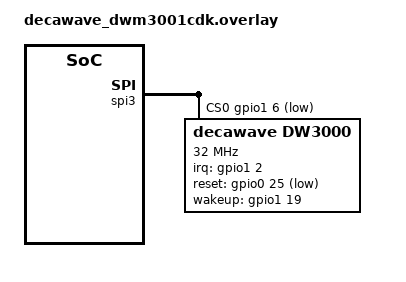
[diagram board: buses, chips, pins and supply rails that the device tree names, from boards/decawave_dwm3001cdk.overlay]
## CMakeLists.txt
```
# Copyright (c) 2026 asxeem
# Licensed under the MIT License - see LICENSE file in the repo root for details.
# Passive HRP-UWB frame-capture firmware for the Qorvo DWM3001CDK
# (DW3110 + nRF52833).  Out-of-tree Zephyr / nRF Connect SDK application that
# builds against the Qorvo DW3000 "decadriver" (dwt_uwb_driver) supplied as a
# Zephyr module at external/dw3000.

cmake_minimum_required(VERSION 3.20.0)

# Pull in the Qorvo/Decawave DW3000 decadriver as a Zephyr module.  It carries
# its own zephyr/module.yml + Kconfig (CONFIG_DW3000) and compiles only when
# CONFIG_DW3000=y (set in prj.conf).  Place the driver at external/dw3000 (see
# the README - e.g. `git submodule add <driver-repo> external/dw3000`).
set(DW3000_MODULE_DIR ${CMAKE_CURRENT_SOURCE_DIR}/external/dw3000)
if(NOT EXISTS ${DW3000_MODULE_DIR}/dwt_uwb_driver/deca_device_api.h)
  message(FATAL_ERROR
    "DW3000 decadriver not found at ${DW3000_MODULE_DIR}. "
    "See the README: add the Qorvo dwt_uwb_driver module at external/dw3000.")
endif()
list(APPEND ZEPHYR_EXTRA_MODULES ${DW3000_MODULE_DIR})

find_package(Zephyr REQUIRED HINTS $ENV{ZEPHYR_BASE})
project(uwb_capture LANGUAGES C)

target_sources(app PRIVATE
  src/main.c
  src/capture.c
  src/shell_cmds.c
)
```

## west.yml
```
# west.yml - OPTIONAL self-contained nRF Connect SDK workspace for uwb-sniffer.
#
# You only need this if you do NOT already have an NCS install.  It pins NCS and
# lets you spin up a dedicated workspace:
#
#     west init -l uwb-sniffer          # make this repo the manifest repo
#     west update                       # fetch pinned NCS (Zephyr, HALs, ...)
#     git submodule update --init       # the DW3000 driver at external/dw3000
#
# If you ALREADY have NCS v3.3.0, ignore this file and build the app freestanding
# against your existing workspace (see README "Build", option B) - nothing here
# forces a re-download; this manifest is only consumed when this repo is the
# manifest repo of a west workspace.
manifest:
  version: "1.0"

  remotes:
    - name: nrfconnect
      url-base: https://github.com/nrfconnect

  projects:
    - name: sdk-nrf
      remote: nrfconnect
      repo-path: sdk-nrf
      revision: v3.3.0
      import: true   # pulls Zephyr + HALs + modules at the versions NCS v3.3.0 pins

  self:
    path: uwb-sniffer
```

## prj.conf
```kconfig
# Passive HRP-UWB frame-capture firmware - DWM3001CDK.

# ── DW3000 decadriver (external/dw3000) ───────────────────────────────────
CONFIG_GPIO=y
CONFIG_SPI=y
# Some DW3000 platform HALs drive the bus with the async SPI API
# (spi_transceive_signal); harmless to enable when the HAL is synchronous.
CONFIG_SPI_ASYNC=y
CONFIG_DW3000=y
CONFIG_DW3000_CHIP_DW3000=y   # DW3110 is DW3000-family silicon

# ── Console / logging / shell (all over UART0 -> onboard J-Link VCOM) ──────
CONFIG_SERIAL=y
CONFIG_CONSOLE=y
CONFIG_UART_CONSOLE=y

CONFIG_LOG=y
# Immediate (synchronous) logging: per-frame lines are emitted from the DW3000
# IRQ workqueue and we want them ordered 1:1 with RX events, never dropped by a
# backlogged deferred-log ring during a fast frame burst.
CONFIG_LOG_MODE_IMMEDIATE=y
# Log through the shell backend only (below).  A standalone UART backend here
# would ALSO write the same UART, printing every line twice - keep it off.
CONFIG_LOG_BACKEND_UART=n

CONFIG_SHELL=y
CONFIG_SHELL_LOG_BACKEND=y    # the single log path: shell renders log lines on the UART
CONFIG_SHELL_STACK_SIZE=2048
CONFIG_SHELL_VT100_COLORS=y          # ANSI color for `sniff` command responses
CONFIG_SHELL_PROMPT_UART="uwb:~$ "   # branded prompt (plain ASCII: shell tracks its width)
# Declutter top-level `help`: drop the peripheral built-in modules a sniffer
# never uses (kernel/device/date/devmem).  The generic SHELL_CMDS bundle
# (clear/history/shell/rem/retval/resize) is kept.  The 5-line help preamble is
# baked into the Zephyr shell core and cannot be changed via config.
CONFIG_KERNEL_SHELL=n
CONFIG_DEVICE_SHELL=n
CONFIG_DATE_SHELL=n
CONFIG_DEVMEM_SHELL=n

# ── Runtime ───────────────────────────────────────────────────────────────
CONFIG_MAIN_STACK_SIZE=2048
# The DW3000 platform HAL submits dwt_isr() to the SYSTEM workqueue
# (k_work_submit in dw3000_hw.c), so our RX callback - SPI reads,
# dwt_readdiagnostics(), and the ~18-arg snprintf of the record line - runs on
# sysworkq.  The 1024-byte default overflows on the first RX (MPU/stack-overflow
# fault on the sysworkq thread); give it headroom.
CONFIG_SYSTEM_WORKQUEUE_STACK_SIZE=4096
CONFIG_HEAP_MEM_POOL_SIZE=1024
CONFIG_CBPRINTF_FP_SUPPORT=n  # log line is integer/hex only - keep it small
CONFIG_REBOOT=y
```

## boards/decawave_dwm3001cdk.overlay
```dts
// Copyright (c) 2026 asxeem
// Licensed under the MIT License - see LICENSE file in the repo root for details.
/*
 * DWM3001CDK - DW3110 device node for the Qorvo/Decawave `decawave,dw3000`
 * binding (the DW3000 driver module at external/dw3000).
 *
 * The in-tree NCS board `qorvo/decawave_dwm3001cdk` already enables &spi3
 * (SCK P0.03, MOSI P0.08, MISO P0.29, CS P1.06 - see the board's
 * *-pinctrl.dtsi and .dts) but does NOT declare the DW3110 child node, so we
 * add it here.  Pin numbers are taken verbatim from Qorvo's own DWM3001CDK
 * board config (DW3_QM33_SDK_1.1.1,
 * Projects/FreeRTOS/<proj>/DWM3001CDK/ProjectDefinition/uwb_stack_llhw.cmake):
 *
 *   CONFIG_SPI_UWB_SCK_GPIO   = P0.03      CONFIG_SPI_UWB_MOSI_GPIO = P0.08
 *   CONFIG_SPI_UWB_MISO_GPIO  = P0.29      CONFIG_SPI_UWB_CS_GPIO   = P1.06
 *   CONFIG_DWT_IRQ_GPIO       = P1.02      CONFIG_DWT_RSTN_GPIO     = P0.25
 *   CONFIG_DWT_WU_GPIO        = P1.19
 *
 * These match the NCS board's &spi3/CS pins exactly, cross-checked against the
 * community svhoy uwb_zephyr_dwm3001cdk port.
 */

&spi3 {
	status = "okay";
	compatible = "nordic,nrf-spim";
	cs-gpios = <&gpio1 6 GPIO_ACTIVE_LOW>;

	dw3000: dw3000@0 {
		compatible = "decawave,dw3000";
		reg = <0>;
		status = "okay";
		/* Platform HAL clocks init at 2 MHz, then switches to this max
		 * for bulk reads (dw3000_spi.c speed_slow/fast).  32 MHz is safe
		 * on the integrated module (DW3110 rated to 38 MHz). */
		spi-max-frequency = <32000000>;
		irq-gpios   = <&gpio1 2  GPIO_ACTIVE_HIGH>;  /* DW_IRQ  P1.02 */
		reset-gpios = <&gpio0 25 GPIO_ACTIVE_LOW>;   /* DW_RSTn P0.25 */
		wakeup-gpios = <&gpio1 19 GPIO_ACTIVE_HIGH>; /* DW_WAKEUP P1.19 */
	};
};

/ {
	aliases {
		dw3000 = &dw3000;
	};
};
```

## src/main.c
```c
// Copyright (c) 2026 asxeem
// Licensed under the MIT License - see LICENSE file in the repo root for details.
/*
 * @file main.c
 * @brief Passive HRP-UWB frame-capture firmware entry point - DWM3001CDK.
 *
 * Brings the DW3110 up, prints the one-time config banner, and arms continuous
 * receive.  From then on the capture engine (capture.c) logs one line per RX
 * event and re-arms itself; the operator drives it live over the `uwb` shell
 * (shell_cmds.c).
 */

#include "capture.h"

#include <zephyr/kernel.h>
#include <zephyr/logging/log.h>

LOG_MODULE_REGISTER(main, LOG_LEVEL_INF);

/** @brief Boot the radio, print the banner, and start capturing. */
int main(void)
{
	int err = capture_init();

	capture_print_banner();

	if (err) {
		LOG_ERR("capture_init failed: %d - check DW3110 wiring/power", err);
		return 0; /* Keep the shell alive so the operator can retry. */
	}

	err = capture_start();
	if (err) {
		LOG_ERR("capture_start failed: %d", err);
	}

	return 0;
}
```

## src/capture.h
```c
// Copyright (c) 2026 asxeem
// Licensed under the MIT License - see LICENSE file in the repo root for details.
/*
 * @file capture.h
 * @brief Passive HRP-UWB frame-capture engine for the DWM3001CDK (DW3110).
 *
 * Wraps Qorvo's portable `dwt_uwb_driver` (the DW3000 driver module) in a
 * receive-only capture loop: the radio is armed for continuous, error-tolerant
 * RX and every RX event - good frame, STS/CRC/PHY error, or timeout - is logged
 * as one structured line and RX is immediately re-armed.  This builds directly
 * on the PHY driver.
 *
 * All radio access stays inside capture.c (the "radio layer"); main.c and
 * shell_cmds.c only touch this API.
 */

#ifndef UWB_CAPTURE_H_
#define UWB_CAPTURE_H_

#include <stdbool.h>
#include <stdint.h>

/** @brief Per-frame event classification, derived from SYS_STATUS bits. */
enum capture_event {
	CAP_EV_OK = 0,   /**< RXFCG: frame with good FCS (and good STS in SP1/2/3). */
	CAP_EV_STS_ERR,  /**< CIAERR/CP error: STS did not validate. */
	CAP_EV_FCS_ERR,  /**< RXFCE: frame CRC (FCS) failed. */
	CAP_EV_PHY_ERR,  /**< RXPHE/RXFSL: PHY-header or Reed-Solomon decode error. */
	CAP_EV_TO,       /**< RXFTO/RXPTO/RXSTO: preamble/frame/SFD timeout. */
	CAP_EV_COUNT,
};

/** @brief Running tally of RX events since boot / last `stats clear`. */
struct capture_stats {
	uint32_t per_event[CAP_EV_COUNT]; /**< One counter per @ref capture_event. */
	uint32_t total;                   /**< Sum of all events. */
};

/**
 * @brief Bring the DW3110 up to a configured, callback-registered state.
 *
 * Idempotent.  Runs the proven sequence: dw3000_hw_init -> dw3000_hw_reset ->
 * dwt_probe -> dwt_initialise -> dwt_configure -> dw3000_hw_init_interrupt ->
 * dwt_setcallbacks -> dwt_setinterrupt.  Does NOT arm RX (call @ref
 * capture_start for that).
 *
 * @retval 0     Radio ready.
 * @retval -EIO  SPI probe / initialise / configure failed.
 */
int capture_init(void);

/**
 * @brief Arm continuous, timeout-free RX (rxtimeout 0, START_RX_IMMEDIATE).
 * @retval 0     Listening.
 * @retval -EIO  dwt_rxenable rejected.
 */
int capture_start(void);

/** @brief Force the radio off and stop capturing. @return 0. */
int capture_stop(void);

/** @brief True while RX is armed. */
bool capture_is_running(void);

/* ── Live PHY config (applied immediately; re-arms RX if it was running) ──── */

/** @brief Set channel (5 or 9). @retval -EINVAL if not 5/9. */
int capture_set_channel(uint8_t chan);
/** @brief Set TX+RX preamble code (9 = Apple/CCC default SYNC_Code_Index; 9/11 BPRF ideals). */
int capture_set_preamble_code(uint8_t code);
/** @brief Set preamble length in symbols (e.g. 64, 128). @retval -EINVAL if unsupported. */
int capture_set_preamble_len(uint16_t symbols);
/** @brief Set SFD type (dwt_sfd_type_e: 0 IEEE-8/4a, 1 DW-8, 2 DW-16, 3 IEEE-4z). */
int capture_set_sfd(uint8_t sfd_type);
/** @brief Set STS packet config: 0=SP0(off) 1=SP1 2=SP2 3=SP3(no-data). */
int capture_set_sp(uint8_t sp);
/**
 * @brief Retune to the Aliro/CCC ranging PHY (CCC v4 Table 21-1 Config 0000).
 *
 * One reconfigure to the set an Apple Wallet key uses: chan 9, code 9, 64-sym
 * preamble (PAC8), SFD IEEE-8/4a, 6.8 Mbps, SP0 (hear the cleartext Pre-POLL).
 * Any loaded STS key/IV is left in place.  @return 0, or a reconfigure error.
 */
int capture_set_ccc(void);

/**
 * @brief Load a custom 128-bit STS key (dURSK) / IV (STS-V) to decode a keyed
 *        secure-ranging session (e.g. CCC/Aliro).
 *
 * The DW3000 default STS key never matches a real session, so such frames always
 * fault as STS_ERR.  Given the session's key material - derived host-side from
 * the URSK - loading it lets the STS correlate so a matching frame decodes as OK
 * (event RXFCG, positive `sts` quality).  Both take a canonical big-endian
 * 16-byte value (byte 0 = MSB), exactly as the CCC deriver prints dURSK (key)
 * and STS-V (iv).  Applied immediately; re-arms RX if it was running.
 *
 * @retval 0        Loaded.
 * @retval -EINVAL  NULL pointer.
 * @retval -EIO     Underlying reconfigure failed.
 */
int capture_set_sts_key(const uint8_t key_be[16]);
int capture_set_sts_iv(const uint8_t iv_be[16]);

/** @brief Revert to the DW3000 default STS key/IV. */
void capture_clear_sts(void);

/**
 * @brief Only log frames whose Ipatov CIR peak is >= @p min_peak (0 = log all).
 *
 * Throttle for a strong-transmitter burst: below-threshold frames are still
 * counted and RX re-armed, they just aren't printed.
 */
void capture_set_min_peak(uint32_t min_peak);

/**
 * @brief Console output view.  All are per-frame renderings of the same capture
 *        except SUMMARY, which is a 1 Hz aggregate gauge.
 */
enum capture_view {
	CAP_VIEW_SUMMARY = 0, /**< 1 Hz gauge: signal bar + round rate; `sniff summary`. */
	CAP_VIEW_HUMAN,       /**< Per-frame plain-English line; `sniff human`. */
	CAP_VIEW_RAW,         /**< Per-frame `UWBCAP key=value` machine lines; `sniff raw`. */
	CAP_VIEW_RAW_PRETTY,  /**< Per-frame compact colored line; `sniff raw_pretty`. */
};

/**
 * @brief Select the console output view (@ref capture_view).  Applied immediately.
 */
void capture_set_view(enum capture_view view);

/**
 * @brief Capture the next @p n_frames real frames into RAM at full radio speed,
 *        then dump them as parseable `UWBCAP` lines for offline round analysis.
 *
 * The RX callback only stashes each frame's key fields (no per-frame printing),
 * so a ranging round's back-to-back frames aren't dropped by the slow console.
 *
 * @retval 0        Burst armed.
 * @retval -EINVAL  n_frames is 0 or exceeds the RAM buffer.
 * @retval -EBUSY   A burst is already in progress.
 */
int capture_burst(uint32_t n_frames);

/**
 * @brief Sweep the candidate preamble codes (9..12) ~1 s each, count real
 *        frames per code, and lock onto the busiest.
 *
 * Apple Nearby-Interaction sessions negotiate the preamble code, so this finds
 * the live one without prior knowledge.
 *
 * @retval 0        Scan started.
 * @retval -EBUSY   A scan or burst is already in progress.
 */
int capture_scan(void);

/** @brief Read-only snapshot of the running event tally. */
const struct capture_stats *capture_get_stats(void);
/** @brief Zero the event tally and the frame index. */
void capture_clear_stats(void);

/** @brief Emit the one-time configuration banner to the log. */
void capture_print_banner(void);

#endif /* UWB_CAPTURE_H_ */
```

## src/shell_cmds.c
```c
// Copyright (c) 2026 asxeem
// Licensed under the MIT License - see LICENSE file in the repo root for details.
/*
 * @file shell_cmds.c
 * @brief `sniff` shell command tree for the passive capture engine.
 *
 * Exposes the capture.h API over the Zephyr shell (RTT/UART):
 *   sniff start | stop
 *   sniff chan <5|9>       sniff preamble <code>   sniff plen <symbols>
 *   sniff sfd <0..3>       sniff sp <0..3>       sniff ccc
 *   sniff minpeak <hex>    sniff human | raw      sniff burst [N]  sniff scan
 *   sniff stskey <hex>|off sniff stsiv <hex>      sniff stats [clear]
 */

#include "capture.h"

#include <errno.h>
#include <stdlib.h>
#include <string.h>

#include <zephyr/shell/shell.h>

/* ── Response styling ──────────────────────────────────────────────────────
 * A green "ok " confirmation prefix (message text that follows stays default),
 * and one colored row of the `sniff stats` table.  VT100 color auto-drops when
 * CONFIG_SHELL_VT100_COLORS=n or the terminal doesn't support it. */
static void tick(const struct shell *sh)
{
	shell_fprintf(sh, SHELL_VT100_COLOR_GREEN, "  ok ");
}

/** @brief One `sniff stats` row: name in default, count colored (dim when 0). */
static void stat_row(const struct shell *sh, const char *name, uint32_t v,
		     enum shell_vt100_color col)
{
	shell_fprintf(sh, SHELL_VT100_COLOR_DEFAULT, "  %-9s", name);
	shell_fprintf(sh, v ? col : SHELL_VT100_COLOR_DEFAULT, " %8u\n", v);
}

/** @brief A colored section header in the `sniff` help screen. */
static void sec(const struct shell *sh, const char *title)
{
	shell_fprintf(sh, SHELL_VT100_COLOR_YELLOW, "\n  %s\n", title);
}

/** @brief One help row: cyan `name+args` column, then the description. */
static void row(const struct shell *sh, const char *cmd, const char *desc)
{
	shell_fprintf(sh, SHELL_VT100_COLOR_CYAN, "    %-24s", cmd);
	shell_print(sh, "%s", desc);
}

/** @brief One `sniff raw` legend row: cyan field name, then its meaning. */
static void leg(const struct shell *sh, const char *field, const char *meaning)
{
	shell_fprintf(sh, SHELL_VT100_COLOR_CYAN, "    %-8s ", field);
	shell_print(sh, "%s", meaning);
}

/** @brief `uwb start` - arm continuous RX. */
static int cmd_start(const struct shell *sh, size_t argc, char **argv)
{
	ARG_UNUSED(argc);
	ARG_UNUSED(argv);
	int err = capture_start();

	if (err) {
		shell_error(sh, "start failed: %d", err);
		return err;
	}
	tick(sh);
	shell_print(sh, "capturing");
	return 0;
}

/** @brief `uwb stop` - force radio off. */
static int cmd_stop(const struct shell *sh, size_t argc, char **argv)
{
	ARG_UNUSED(argc);
	ARG_UNUSED(argv);
	capture_stop();
	tick(sh);
	shell_print(sh, "stopped");
	return 0;
}

/** @brief `uwb chan <5|9>`. */
static int cmd_chan(const struct shell *sh, size_t argc, char **argv)
{
	ARG_UNUSED(argc);
	int err = capture_set_channel((uint8_t)atoi(argv[1]));

	if (err) {
		shell_error(sh, "invalid channel (5 or 9)");
		return err;
	}
	tick(sh);
	shell_print(sh, "chan %s", argv[1]);
	return 0;
}

/** @brief `uwb preamble <code>` - TX+RX preamble code. */
static int cmd_preamble(const struct shell *sh, size_t argc, char **argv)
{
	ARG_UNUSED(argc);
	int err = capture_set_preamble_code((uint8_t)atoi(argv[1]));

	if (err) {
		shell_error(sh, "reconfigure failed: %d", err);
		return err;
	}
	tick(sh);
	shell_print(sh, "code %s", argv[1]);
	return 0;
}

/** @brief `uwb plen <symbols>` - preamble length (64/128/256/512). */
static int cmd_plen(const struct shell *sh, size_t argc, char **argv)
{
	ARG_UNUSED(argc);
	int err = capture_set_preamble_len((uint16_t)atoi(argv[1]));

	if (err) {
		shell_error(sh, "invalid plen (64/128/256/512)");
		return err;
	}
	tick(sh);
	shell_print(sh, "plen %s", argv[1]);
	return 0;
}

/** @brief `uwb sfd <0..3>` - dwt_sfd_type_e (3 = IEEE 802.15.4z BPRF). */
static int cmd_sfd(const struct shell *sh, size_t argc, char **argv)
{
	ARG_UNUSED(argc);
	int err = capture_set_sfd((uint8_t)atoi(argv[1]));

	if (err) {
		shell_error(sh, "invalid sfd (0..3)");
		return err;
	}
	tick(sh);
	shell_print(sh, "sfd %s", argv[1]);
	return 0;
}

/** @brief `uwb sp <0..3>` - STS packet config (0=SP0 off, 3=SP3 no-data). */
static int cmd_sp(const struct shell *sh, size_t argc, char **argv)
{
	ARG_UNUSED(argc);
	int err = capture_set_sp((uint8_t)atoi(argv[1]));

	if (err) {
		shell_error(sh, "invalid sp (0..3)");
		return err;
	}
	tick(sh);
	shell_print(sh, "sp %s", argv[1]);
	return 0;
}

/** @brief `sniff ccc` - retune to the Aliro/CCC ranging PHY (Config 0000). */
static int cmd_ccc(const struct shell *sh, size_t argc, char **argv)
{
	ARG_UNUSED(argc);
	ARG_UNUSED(argv);
	int err = capture_set_ccc();

	if (err) {
		shell_error(sh, "ccc: reconfigure failed: %d", err);
		return err;
	}
	tick(sh);
	shell_print(sh, "ccc - chan9 code9 plen64 sfd4a 6.8Mb SP0 - Apple Pre-POLL");
	return 0;
}

/** @brief `sniff minpeak <hex>` - only log frames with peak >= value (0 = all). */
static int cmd_minpeak(const struct shell *sh, size_t argc, char **argv)
{
	ARG_UNUSED(argc);
	uint32_t v = (uint32_t)strtoul(argv[1], NULL, 0); /* accepts 0x-prefixed hex */

	capture_set_min_peak(v);
	tick(sh);
	shell_print(sh, "minpeak 0x%08X", v);
	return 0;
}

/** @brief `sniff summary` - the 1 Hz aggregate gauge (signal bar + round rate). */
static int cmd_summary(const struct shell *sh, size_t argc, char **argv)
{
	ARG_UNUSED(argc);
	ARG_UNUSED(argv);
	capture_set_view(CAP_VIEW_SUMMARY);
	tick(sh);
	shell_print(sh, "view summary - 1 Hz gauge (signal bar + round rate)");
	return 0;
}

/** @brief `sniff human` - one plain-English line per frame. */
static int cmd_human(const struct shell *sh, size_t argc, char **argv)
{
	ARG_UNUSED(argc);
	ARG_UNUSED(argv);
	capture_set_view(CAP_VIEW_HUMAN);
	tick(sh);
	shell_print(sh, "view human - one plain-English line per frame");
	return 0;
}

/** @brief `sniff raw` - per-frame `UWBCAP key=value` machine lines (for parsing). */
static int cmd_raw(const struct shell *sh, size_t argc, char **argv)
{
	ARG_UNUSED(argc);
	ARG_UNUSED(argv);
	capture_set_view(CAP_VIEW_RAW);
	tick(sh);
	shell_print(sh, "view raw - per-frame UWBCAP lines (feed to the parser / pcap)");

	sec(sh, "legend");
	leg(sh, "idx", "frame number (monotonic)");
	leg(sh, "ev", "OK | STS_ERR | FCS_ERR | PHY_ERR | TO");
	leg(sh, "ts", "Ipatov RX timestamp, 40-bit device time (~15.65 ps/tick)");
	leg(sh, "cfo", "clock/carrier offset vs the transmitter (signed)");
	leg(sh, "cia", "CIR diagnostics fresh? 1 = yes, 0 = stale (errored frame)");
	leg(sh, "cir", "Ipatov CIR power   -> RSSI dBm (derived host-side)");
	leg(sh, "f1 f2 f3", "first-path amplitudes -> first-path dBm");
	leg(sh, "fpidx", "first-path index in the CIR, Q10.6");
	leg(sh, "acc", "preamble symbols accumulated (N in the power formula)");
	leg(sh, "peak", "Ipatov CIR peak (index | amplitude)");
	leg(sh, "len", "frame length, bytes (incl FCS for data frames)");
	leg(sh, "rng", "PHR ranging bit (0/1)");
	leg(sh, "dr", "data rate (6M8 | 850K)");
	leg(sh, "sts", "STS quality (off in SP0; > 0 = good in SP1/2/3)");
	leg(sh, "ststat", "STS status bits (CP error & co.)");
	leg(sh, "status", "raw SYS_STATUS low word");
	leg(sh, "pl", "payload bytes, hex (empty for SP3-ND / timeout)");
	return 0;
}

/** @brief `sniff raw_pretty` - one compact, colored line per frame. */
static int cmd_raw_pretty(const struct shell *sh, size_t argc, char **argv)
{
	ARG_UNUSED(argc);
	ARG_UNUSED(argv);
	capture_set_view(CAP_VIEW_RAW_PRETTY);
	tick(sh);
	shell_print(sh, "view raw_pretty - one compact colored line per frame (raw = machine)");
	return 0;
}

/** @brief `sniff burst [N]` - capture N frames to RAM at full speed, then dump. */
static int cmd_burst(const struct shell *sh, size_t argc, char **argv)
{
	uint32_t n = (argc == 2) ? (uint32_t)strtoul(argv[1], NULL, 0) : 512u;
	int err = capture_burst(n);

	if (err == -EBUSY) {
		shell_error(sh, "burst already running");
	} else if (err) {
		shell_error(sh, "burst: invalid N (1..512)");
	} else {
		tick(sh);
		shell_print(sh, "burst - capturing %u frames to RAM, then dumping...", n);
	}
	return err;
}

/** @brief `sniff scan` - find the live preamble code (Apple negotiates it). */
static int cmd_scan(const struct shell *sh, size_t argc, char **argv)
{
	ARG_UNUSED(argc);
	ARG_UNUSED(argv);
	int err = capture_scan();

	if (err == -EBUSY) {
		shell_error(sh, "scan/burst already running");
	} else if (err) {
		shell_error(sh, "scan failed: %d", err);
	} else {
		tick(sh);
		shell_print(sh, "scanning preamble codes 9..12, locking onto the live one...");
	}
	return err;
}

/** @brief One hex nibble to its value, or -1 if not a hex digit. */
static int hexnib(char c)
{
	if (c >= '0' && c <= '9') return c - '0';
	if (c >= 'a' && c <= 'f') return c - 'a' + 10;
	if (c >= 'A' && c <= 'F') return c - 'A' + 10;
	return -1;
}

/** @brief Parse a 32-hex-char (16-byte) STS value into @p buf. @return 0 on success. */
static int parse_sts_hex(const char *s, uint8_t buf[16])
{
	if (strlen(s) != 32) {
		return -EINVAL;
	}
	for (int i = 0; i < 16; i++) {
		int hi = hexnib(s[2 * i]);
		int lo = hexnib(s[2 * i + 1]);

		if (hi < 0 || lo < 0) {
			return -EINVAL;
		}
		buf[i] = (uint8_t)((hi << 4) | lo);
	}
	return 0;
}

/** @brief `sniff stskey <32hex dURSK> | off` - load/clear the custom STS key. */
static int cmd_stskey(const struct shell *sh, size_t argc, char **argv)
{
	ARG_UNUSED(argc);
	if (strcmp(argv[1], "off") == 0) {
		capture_clear_sts();
		tick(sh);
		shell_print(sh, "sts default");
		return 0;
	}

	uint8_t key[16];

	if (parse_sts_hex(argv[1], key) != 0) {
		shell_error(sh, "stskey: need 32 hex chars (16-byte dURSK) or 'off'");
		return -EINVAL;
	}
	int err = capture_set_sts_key(key);

	if (err) {
		shell_error(sh, "stskey: reconfigure failed: %d", err);
	} else {
		tick(sh);
		shell_print(sh, "stskey set");
	}
	return err;
}

/** @brief `sniff stsiv <32hex STS-V>` - load the custom STS IV / V value. */
static int cmd_stsiv(const struct shell *sh, size_t argc, char **argv)
{
	ARG_UNUSED(argc);

	uint8_t iv[16];

	if (parse_sts_hex(argv[1], iv) != 0) {
		shell_error(sh, "stsiv: need 32 hex chars (16-byte STS-V)");
		return -EINVAL;
	}
	int err = capture_set_sts_iv(iv);

	if (err) {
		shell_error(sh, "stsiv: reconfigure failed: %d", err);
	} else {
		tick(sh);
		shell_print(sh, "stsiv set");
	}
	return err;
}

/** @brief `uwb stats [clear]` - per-event counts, or zero them. */
static int cmd_stats(const struct shell *sh, size_t argc, char **argv)
{
	if (argc == 2 && strcmp(argv[1], "clear") == 0) {
		capture_clear_stats();
		tick(sh);
		shell_print(sh, "stats cleared");
		return 0;
	}

	const struct capture_stats *s = capture_get_stats();

	shell_print(sh, "  %-9s %8s", "event", "count");
	shell_print(sh, "  ------------------");
	stat_row(sh, "OK",      s->per_event[CAP_EV_OK],      SHELL_VT100_COLOR_GREEN);
	stat_row(sh, "STS_ERR", s->per_event[CAP_EV_STS_ERR], SHELL_VT100_COLOR_YELLOW);
	stat_row(sh, "FCS_ERR", s->per_event[CAP_EV_FCS_ERR], SHELL_VT100_COLOR_RED);
	stat_row(sh, "PHY_ERR", s->per_event[CAP_EV_PHY_ERR], SHELL_VT100_COLOR_RED);
	stat_row(sh, "TO",      s->per_event[CAP_EV_TO],      SHELL_VT100_COLOR_DEFAULT);
	shell_print(sh, "  ------------------");
	stat_row(sh, "total",   s->total,                     SHELL_VT100_COLOR_CYAN);
	return 0;
}

/** @brief `sniff` (bare) and `sniff help` - the grouped, colored reference. */
static int cmd_sniff_help(const struct shell *sh, size_t argc, char **argv)
{
	/* Reached bare (`sniff`), via `sniff help`, or with an unrecognised
	 * subcommand (`sniff foo`) - in that last case argc>1: name the bad word
	 * in red, then fall through to the full reference. */
	if (argc > 1) {
		shell_fprintf(sh, SHELL_VT100_COLOR_RED,
			      "\n  unknown command: %s\n", argv[1]);
	}

	shell_fprintf(sh, SHELL_VT100_COLOR_CYAN, "\n  sniff");
	shell_print(sh, "   passive 802.15.4z HRP-UWB frame capture");

	sec(sh, "CAPTURE");
	row(sh, "start", "arm continuous receive");
	row(sh, "stop", "force the radio off");
	row(sh, "burst [N]", "grab N frames to RAM, then dump (default 512)");
	row(sh, "scan", "sweep preamble codes 9-12, lock the live one");

	sec(sh, "RADIO");
	row(sh, "chan <5|9>", "UWB channel");
	row(sh, "preamble <code>", "preamble code (9-12)");
	row(sh, "plen <64|128|256|512>", "preamble length, symbols");
	row(sh, "sfd <0-3>", "SFD:  0 IEEE-4a  1 DW-8  2 DW-16  3 IEEE-4z");
	row(sh, "sp <0-3>", "STS:  0 off  1 SP1  2 SP2  3 SP3-ND");
	row(sh, "ccc", "one-shot Apple/CCC ranging preset");

	sec(sh, "DECODE");
	row(sh, "stskey <hex|off>", "load 128-bit STS key (dURSK)");
	row(sh, "stsiv <hex>", "load STS IV (STS-V)");

	sec(sh, "OUTPUT");
	row(sh, "summary", "1 Hz gauge: signal bar + round rate");
	row(sh, "human", "one plain-English line per frame");
	row(sh, "raw_pretty", "one compact colored line per frame");
	row(sh, "raw", "per-frame UWBCAP machine lines (parser/pcap)");
	row(sh, "minpeak <hex>", "log only frames with peak >= value");
	row(sh, "stats [clear]", "RX event counters");
	row(sh, "help", "show this screen");

	shell_fprintf(sh, SHELL_VT100_COLOR_GREEN,
		      "\n  key card:  sniff ccc  ->  tap the reader  ->  sniff stats\n\n");
	return 0;
}

SHELL_STATIC_SUBCMD_SET_CREATE(
	uwb_sub,
	SHELL_CMD_ARG(start, NULL, "Arm continuous RX", cmd_start, 1, 0),
	SHELL_CMD_ARG(stop, NULL, "Stop RX", cmd_stop, 1, 0),
	SHELL_CMD_ARG(chan, NULL, "Set channel <5|9>", cmd_chan, 2, 0),
	SHELL_CMD_ARG(preamble, NULL, "Set preamble code <n>", cmd_preamble, 2, 0),
	SHELL_CMD_ARG(plen, NULL, "Set preamble length <64|128|256|512>", cmd_plen, 2, 0),
	SHELL_CMD_ARG(sfd, NULL, "Set SFD type <0..3>", cmd_sfd, 2, 0),
	SHELL_CMD_ARG(sp, NULL, "Set STS packet cfg <0..3>", cmd_sp, 2, 0),
	SHELL_CMD_ARG(ccc, NULL, "Retune to Aliro/CCC ranging PHY", cmd_ccc, 1, 0),
	SHELL_CMD_ARG(minpeak, NULL, "Only log peak >= <hex> (0=all)", cmd_minpeak, 2, 0),
	SHELL_CMD_ARG(summary, NULL, "1 Hz signal/round gauge", cmd_summary, 1, 0),
	SHELL_CMD_ARG(human, NULL, "Per-frame plain-English view", cmd_human, 1, 0),
	SHELL_CMD_ARG(raw_pretty, NULL, "Per-frame compact colored view", cmd_raw_pretty, 1, 0),
	SHELL_CMD_ARG(raw, NULL, "Per-frame UWBCAP machine lines", cmd_raw, 1, 0),
	SHELL_CMD_ARG(burst, NULL, "Capture N frames to RAM then dump [N]", cmd_burst, 1, 1),
	SHELL_CMD_ARG(scan, NULL, "Find the live preamble code (9..12)", cmd_scan, 1, 0),
	SHELL_CMD_ARG(stskey, NULL, "Load STS key <32hex dURSK> | off", cmd_stskey, 2, 0),
	SHELL_CMD_ARG(stsiv, NULL, "Load STS IV <32hex STS-V>", cmd_stsiv, 2, 0),
	SHELL_CMD_ARG(stats, NULL, "Show/clear event counts [clear]", cmd_stats, 1, 1),
	SHELL_CMD_ARG(help, NULL, "Show the sniff command reference", cmd_sniff_help, 1, 0),
	SHELL_SUBCMD_SET_END);

/* Bare `sniff` runs cmd_sniff_help (the pretty reference) instead of Zephyr's
 * default subcommand dump; `sniff <cmd>` still dispatches to the subcommands. */
SHELL_CMD_REGISTER(sniff, &uwb_sub,
		   "passive 802.15.4z HRP-UWB capture (type 'sniff' for help)",
		   cmd_sniff_help);
```
